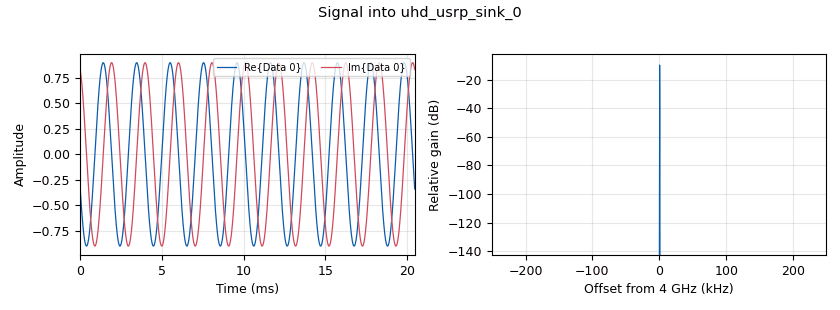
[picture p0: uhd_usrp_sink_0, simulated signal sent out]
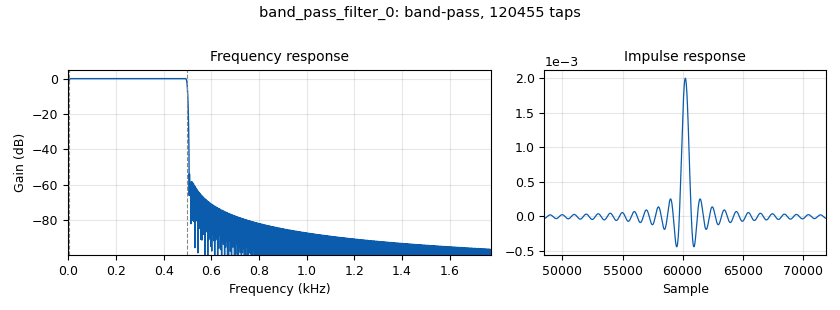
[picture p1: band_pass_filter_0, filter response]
options:
  parameters:
    generate_options: qt_gui
    id: vitalSigns
    output_language: python
    title: Vital Signs GRCon 2022 Demo
  states: {}

blocks:
- name: amplitude
  id: variable
  parameters:
    value: '0.9'
  states: {}
- name: decimRate
  id: variable
  parameters:
    value: '100'
  states: {}
- name: display_buffer
  id: variable
  parameters:
    value: '5000'
  states: {}
- name: freq
  id: variable
  parameters:
    value: 4e9
  states: {}
- name: rx_gain
  id: variable_qtgui_range
  parameters:
    start: '0'
    step: '1'
    stop: '100'
    value: '55'
  states: {}
- name: samp_rate
  id: variable
  parameters:
    value: 500e3
  states: {}
- name: tx_gain
  id: variable_qtgui_range
  parameters:
    start: '0'
    step: '1'
    stop: '100'
    value: '55'
  states: {}
- name: window_size
  id: variable
  parameters:
    value: '2048'
  states: {}
- name: analog_sig_source_x_0_0
  id: analog_sig_source_x
  parameters:
    amp: amplitude
    freq: 1e6/window_size
    offset: '0'
    phase: '0'
    samp_rate: samp_rate
    type: complex
    waveform: analog.GR_COS_WAVE
  states: {}
- name: band_pass_filter_0
  id: band_pass_filter
  parameters:
    decim: decimRate
    gain: '1'
    high_cutoff_freq: '500'
    low_cutoff_freq: '1'
    samp_rate: samp_rate
    type: fir_filter_ccf
    width: '10'
    win: window.WIN_HAMMING
  states: {}
- name: blocks_complex_to_arg_0
  id: blocks_complex_to_arg
  parameters: {}
  states: {}
- name: blocks_multiply_conjugate_cc_0
  id: blocks_multiply_conjugate_cc
  parameters: {}
  states: {}
- name: qtgui_freq_sink_x_0
  id: qtgui_freq_sink_x
  parameters:
    bw: samp_rate/decimRate
    fc: '0'
    fftsize: '1024'
    type: complex
  states: {}
- name: qtgui_time_sink_x_0
  id: qtgui_time_sink_x
  parameters:
    autoscale: 'True'
    ctrlpanel: 'True'
    size: display_buffer
    srate: samp_rate/decimRate
    type: float
    ymax: '180'
    ymin: '-180'
  states: {}
- name: uhd_usrp_sink_0
  id: uhd_usrp_sink
  parameters:
    ant0: '"TX/RX"'
    bw0: samp_rate
    center_freq0: freq
    gain0: tx_gain
    samp_rate: samp_rate
    sync: sync
    type: fc32
  states: {}
- name: uhd_usrp_source_0
  id: uhd_usrp_source
  parameters:
    ant0: '"RX2"'
    bw0: samp_rate
    center_freq0: freq
    gain0: rx_gain
    samp_rate: samp_rate
    sync: sync
    type: fc32
  states: {}
- name: zeromq_push_sink_0
  id: zeromq_push_sink
  parameters:
    address: tcp://127.0.0.1:5557
    timeout: '100'
    type: float
  states: {}

connections:
- [analog_sig_source_x_0_0, '0', blocks_multiply_conjugate_cc_0, '0']
- [analog_sig_source_x_0_0, '0', uhd_usrp_sink_0, '0']
- [band_pass_filter_0, '0', blocks_complex_to_arg_0, '0']
- [band_pass_filter_0, '0', qtgui_freq_sink_x_0, '0']
- [blocks_complex_to_arg_0, '0', qtgui_time_sink_x_0, '0']
- [blocks_complex_to_arg_0, '0', zeromq_push_sink_0, '0']
- [blocks_multiply_conjugate_cc_0, '0', band_pass_filter_0, '0']
- [uhd_usrp_source_0, '0', blocks_multiply_conjugate_cc_0, '1']

metadata:
  file_format: 1
